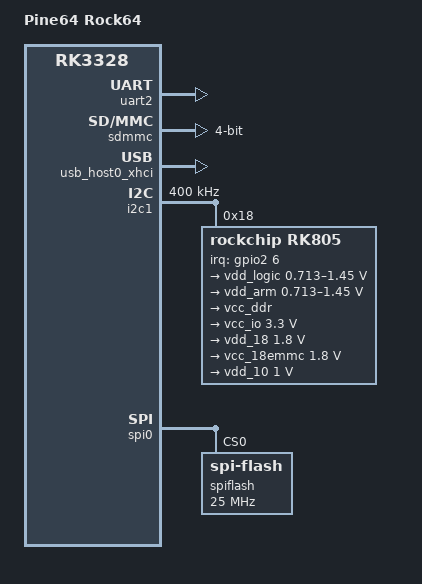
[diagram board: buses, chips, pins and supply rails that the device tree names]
/*
 * (C) Copyright 2017 PINE64
 *
 * SPDX-License-Identifier:     GPL-2.0+
 */

/dts-v1/;
#include "rk3328.dtsi"
#include "rk3328-sdram-lpddr3-1600.dtsi"

/ {
	model = "Pine64 Rock64";
	compatible = "pine64,rock64", "rockchip,rk3328";

	chosen {
		stdout-path = &uart2;
	};

	aliases {
		spi0 = &spi0;
	};
};

&uart2 {
	u-boot,dm-pre-reloc;
	status = "okay";
};

&sdmmc {
	u-boot,dm-spl;
	bus-width = <4>;
	cap-mmc-highspeed;
	cap-sd-highspeed;
	card-detect-delay = <200>;
	disable-wp;
	num-slots = <1>;
	pinctrl-names = "default";
	pinctrl-0 = <&sdmmc0_clk>, <&sdmmc0_cmd>, <&sdmmc0_dectn>, <&sdmmc0_bus4>;
	status = "okay";
};

&usb_host0_xhci {
	status = "okay";
	maximum-speed = "high-speed";
};

&i2c1 {
	clock-frequency = <400000>;
	i2c-scl-rising-time-ns = <168>;
	i2c-scl-falling-time-ns = <4>;
	status = "okay";

	rk805: pmic@18 {
		compatible = "rockchip,rk805";
		status = "okay";
		reg = <0x18>;
		interrupt-parent = <&gpio2>;
		interrupts = <6 IRQ_TYPE_LEVEL_LOW>;
		pinctrl-names = "default";
		pinctrl-0 = <&pmic_int_l>;
		rockchip,system-power-controller;
		wakeup-source;
		gpio-controller;
		#gpio-cells = <2>;
		#clock-cells = <1>;
		clock-output-names = "xin32k", "rk805-clkout2";

		regulators {
			vdd_logic: DCDC_REG1 {
				regulator-name = "vdd_logic";
				regulator-min-microvolt = <712500>;
				regulator-max-microvolt = <1450000>;
				regulator-ramp-delay = <6001>;
				regulator-boot-on;
				regulator-always-on;
				regulator-state-mem {
					regulator-on-in-suspend;
					regulator-suspend-microvolt = <1000000>;
				};
			};

			vdd_arm: DCDC_REG2 {
				regulator-name = "vdd_arm";
				regulator-min-microvolt = <712500>;
				regulator-max-microvolt = <1450000>;
				regulator-ramp-delay = <6001>;
				regulator-boot-on;
				regulator-always-on;
				regulator-state-mem {
					regulator-on-in-suspend;
					regulator-suspend-microvolt = <1000000>;
				};
			};

			vcc_ddr: DCDC_REG3 {
				regulator-name = "vcc_ddr";
				regulator-boot-on;
				regulator-always-on;
				regulator-state-mem {
					regulator-on-in-suspend;
				};
			};

			vcc_io: DCDC_REG4 {
				regulator-name = "vcc_io";
				regulator-min-microvolt = <3300000>;
				regulator-max-microvolt = <3300000>;
				regulator-boot-on;
				regulator-always-on;
				regulator-state-mem {
					regulator-on-in-suspend;
					regulator-suspend-microvolt = <3300000>;
				};
			};

			vdd_18: LDO_REG1 {
				regulator-name = "vdd_18";
				regulator-min-microvolt = <1800000>;
				regulator-max-microvolt = <1800000>;
				regulator-boot-on;
				regulator-always-on;
				regulator-state-mem {
					regulator-on-in-suspend;
					regulator-suspend-microvolt = <1800000>;
				};
			};

			vcc_18emmc: LDO_REG2 {
				regulator-name = "vcc_18emmc";
				regulator-min-microvolt = <1800000>;
				regulator-max-microvolt = <1800000>;
				regulator-boot-on;
				regulator-always-on;
				regulator-state-mem {
					regulator-on-in-suspend;
					regulator-suspend-microvolt = <1800000>;
				};
			};

			vdd_10: LDO_REG3 {
				regulator-name = "vdd_10";
				regulator-min-microvolt = <1000000>;
				regulator-max-microvolt = <1000000>;
				regulator-boot-on;
				regulator-always-on;
				regulator-state-mem {
					regulator-on-in-suspend;
					regulator-suspend-microvolt = <1000000>;
				};
			};
		};
	};
};

&spi0 {
	u-boot,dm-spl;
	status = "okay";

	spiflash: spi-flash@0 {
		u-boot,dm-spl;
		#address-cells = <0x1>;
		#size-cells = <1>;
		compatible = "spi-flash";
		reg = <0x0>;
		spi-max-frequency = <25000000>;
		status = "okay";
	};
};

&pinctrl {
	pmic {
		pmic_int_l: pmic-int-l {
		rockchip,pins =
			<2 RK_PA6 RK_FUNC_GPIO &pcfg_pull_up>;	/* gpio2_a6 */
		};
	};
};

